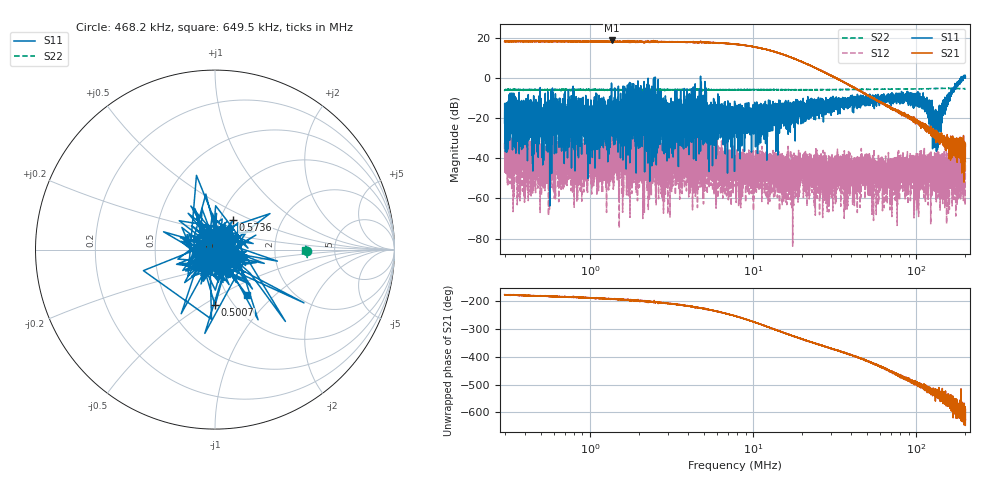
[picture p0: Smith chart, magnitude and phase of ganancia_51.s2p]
# Hz S DB R 50
! CMT, M5065, 19127446, 24.2.4/2
! Date: 11/1/2024 4:45:45 PM
! Data: Format (Calibration Info)
! Freq	S11:dB/Ang(F2)	S21:dB/Ang(F2)	S12:dB/Ang(F2)	S22:dB/Ang(F2)
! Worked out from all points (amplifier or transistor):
!   9000 points, 300 kHz to 200 MHz, reference 50 ohm
!   highest |S21| = 18.7 dB at 1.356 MHz (marker M1)
!   |S21| within 3 dB of that: start of sweep to 9.764 MHz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
!   unconditionally stable (mu >= 1): 2.622 MHz to 4.132 MHz; 5.2 MHz to 188.5 MHz; 189.8 MHz to 191.3 MHz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
!   at 886.8 kHz: K = 6.90, MAG = 19.5 dB, |S12| = -43.6 dB
!   at 7.749 MHz: K = 8.72, MAG = 18.3 dB, |S12| = -44.6 dB
!   at 200 MHz: K = 6.53, MAG = -7.4 dB, |S12| = -41.2 dB
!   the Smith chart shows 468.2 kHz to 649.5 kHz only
!   S11 on the Smith chart (normalised r, x): 468.2 kHz: 0.99, -0.12; 500.7 kHz: 0.83, -0.57; 573.6 kHz: 1.15, +0.39; 649.5 kHz: 1.22, -0.69
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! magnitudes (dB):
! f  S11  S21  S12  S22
! 300 kHz  -22.4  18.2  -35.5  -6.0
! 365.9 kHz  -36.1  18.2  -33.3  -5.7
! 468.2 kHz  -24.5  18.2  -42.8  -5.8
! 500.7 kHz  -10.2  18.3  -35.3  -6.0
! 573.6 kHz  -14.4  18.2  -30.7  -6.1
! 649.5 kHz  -10.1  18.1  -48.3  -5.9
! 886.8 kHz  -20.5  18.2  -43.6  -5.9
! 1.356 MHz  -2.5  18.7  -39.3  -5.9
! 2.621 MHz  -0.7  17.6  -36.5  -6.1
! 4.639 MHz  -23.2  17.7  -47.4  -5.9
! 5.14 MHz  -12.1  17.6  -48.7  -5.9
! 5.49 MHz  -23.2  17.6  -41.7  -6.0
! 7.749 MHz  -14.6  16.9  -44.6  -5.9
! 15.97 MHz  -25.1  11.1  -38.9  -5.8
! 17.06 MHz  -19.3  10.2  -45.2  -5.9
! 22.91 MHz  -17.0  5.8  -44.4  -5.8
! 67.71 MHz  -10.0  -14.4  -40.4  -5.5
! 100.7 MHz  -9.5  -21.6  -42.0  -5.5
! 117.5 MHz  -16.4  -25.1  -49.4  -5.3
! 133.8 MHz  -25.5  -28.4  -49.3  -5.2
! 160.4 MHz  -9.0  -34.2  -45.6  -5.2
! 200 MHz  0.0  -33.7  -41.2  -5.3
